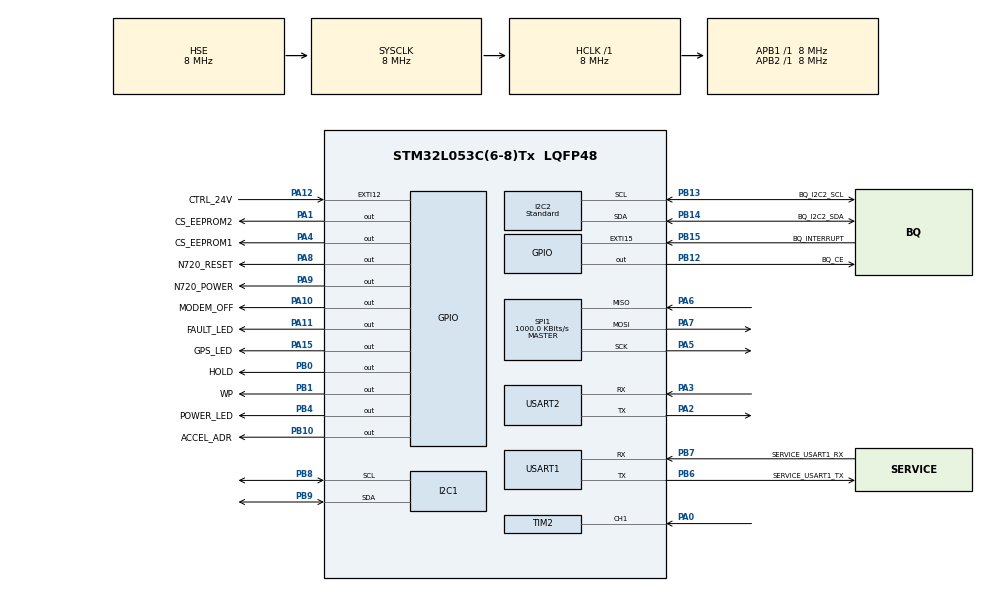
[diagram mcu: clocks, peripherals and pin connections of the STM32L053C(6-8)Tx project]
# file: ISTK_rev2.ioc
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Dma.Request0=USART1_TX
Dma.Request1=SPI1_RX
Dma.Request2=SPI1_TX
Dma.Request3=USART2_TX
Dma.Request4=USART2_RX
Dma.SPI1_RX.1.Direction=DMA_PERIPH_TO_MEMORY
Dma.SPI1_RX.1.Instance=DMA1_Channel2
Dma.SPI1_RX.1.MemDataAlignment=DMA_MDATAALIGN_BYTE
Dma.SPI1_RX.1.MemInc=DMA_MINC_ENABLE
Dma.SPI1_RX.1.Mode=DMA_NORMAL
Dma.SPI1_RX.1.PeriphDataAlignment=DMA_PDATAALIGN_BYTE
Dma.SPI1_RX.1.PeriphInc=DMA_PINC_DISABLE
Dma.SPI1_RX.1.Priority=DMA_PRIORITY_LOW
Dma.SPI1_TX.2.Direction=DMA_MEMORY_TO_PERIPH
Dma.SPI1_TX.2.Instance=DMA1_Channel3
Dma.SPI1_TX.2.MemDataAlignment=DMA_MDATAALIGN_BYTE
Dma.SPI1_TX.2.MemInc=DMA_MINC_ENABLE
Dma.SPI1_TX.2.Mode=DMA_NORMAL
Dma.SPI1_TX.2.PeriphDataAlignment=DMA_PDATAALIGN_BYTE
Dma.SPI1_TX.2.PeriphInc=DMA_PINC_DISABLE
Dma.SPI1_TX.2.Priority=DMA_PRIORITY_LOW
Dma.USART1_TX.0.Direction=DMA_MEMORY_TO_PERIPH
Dma.USART1_TX.0.Instance=DMA1_Channel4
Dma.USART1_TX.0.MemDataAlignment=DMA_MDATAALIGN_BYTE
Dma.USART1_TX.0.MemInc=DMA_MINC_ENABLE
Dma.USART1_TX.0.Mode=DMA_NORMAL
Dma.USART1_TX.0.PeriphDataAlignment=DMA_PDATAALIGN_BYTE
Dma.USART1_TX.0.PeriphInc=DMA_PINC_DISABLE
Dma.USART1_TX.0.Priority=DMA_PRIORITY_LOW
Dma.USART2_RX.4.Direction=DMA_PERIPH_TO_MEMORY
Dma.USART2_RX.4.Instance=DMA1_Channel5
Dma.USART2_RX.4.MemDataAlignment=DMA_MDATAALIGN_BYTE
Dma.USART2_RX.4.MemInc=DMA_MINC_ENABLE
Dma.USART2_RX.4.Mode=DMA_NORMAL
Dma.USART2_RX.4.PeriphDataAlignment=DMA_PDATAALIGN_BYTE
Dma.USART2_RX.4.PeriphInc=DMA_PINC_DISABLE
Dma.USART2_RX.4.Priority=DMA_PRIORITY_LOW
Dma.USART2_TX.3.Direction=DMA_MEMORY_TO_PERIPH
Dma.USART2_TX.3.Instance=DMA1_Channel7
Dma.USART2_TX.3.MemDataAlignment=DMA_MDATAALIGN_BYTE
Dma.USART2_TX.3.MemInc=DMA_MINC_ENABLE
Dma.USART2_TX.3.Mode=DMA_NORMAL
Dma.USART2_TX.3.PeriphDataAlignment=DMA_PDATAALIGN_BYTE
Dma.USART2_TX.3.PeriphInc=DMA_PINC_DISABLE
Dma.USART2_TX.3.Priority=DMA_PRIORITY_LOW
I2C1.Timing=0x2000090E
I2C2.AddressingMode=I2C_ADDRESSINGMODE_7BIT
I2C2.I2C_Speed_Mode=I2C_Standard
I2C2.Timing=0x2000090E
Mcu.Family=STM32L0
Mcu.Name=STM32L053C(6-8)Tx
Mcu.Package=LQFP48
NVIC.DMA1_Channel2_3_IRQn=true\:0\:0\:false\:false\:true\:false\:true
NVIC.DMA1_Channel4_5_6_7_IRQn=true\:0\:0\:false\:false\:true\:false\:true
NVIC.EXTI4_15_IRQn=true\:0\:0\:false\:false\:true\:true\:true
NVIC.TIM2_IRQn=true\:0\:0\:false\:false\:true\:true\:true
NVIC.TIM6_DAC_IRQn=true\:0\:0\:false\:false\:true\:true\:true
NVIC.USART1_IRQn=true\:0\:0\:false\:false\:true\:true\:true
NVIC.USART2_IRQn=true\:0\:0\:false\:false\:true\:true\:true
PA0.GPIO_PuPd=GPIO_PULLDOWN
PA0.Signal=S_TIM2_CH1
PA1.GPIO_Label=CS_EEPROM2
PA1.Signal=GPIO_Output
PA10.GPIO_Label=MODEM_OFF
PA10.GPIO_PuPd=GPIO_PULLDOWN
PA10.PinState=GPIO_PIN_SET
PA10.Signal=GPIO_Output
PA11.GPIO_Label=FAULT_LED
PA11.Signal=GPIO_Output
PA12.GPIO_Label=CTRL_24V
PA12.Signal=GPXTI12
PA15.GPIO_Label=GPS_LED
PA15.Signal=GPIO_Output
PA2.Mode=Asynchronous
PA2.Signal=USART2_TX
PA3.Mode=Asynchronous
PA3.Signal=USART2_RX
PA4.GPIO_Label=CS_EEPROM1
PA4.GPIO_PuPd=GPIO_NOPULL
PA4.Signal=GPIO_Output
PA5.Mode=Full_Duplex_Master
PA5.Signal=SPI1_SCK
PA6.Mode=Full_Duplex_Master
PA6.Signal=SPI1_MISO
PA7.Mode=Full_Duplex_Master
PA7.Signal=SPI1_MOSI
PA8.GPIO_Label=N720_RESET
PA8.GPIO_PuPd=GPIO_PULLDOWN
PA8.PinState=GPIO_PIN_SET
PA8.Signal=GPIO_Output
PA9.GPIO_Label=N720_POWER
PA9.Signal=GPIO_Output
PB0.GPIO_Label=HOLD
PB0.GPIO_PuPd=GPIO_NOPULL
PB0.Signal=GPIO_Output
PB1.GPIO_Label=WP
PB1.Signal=GPIO_Output
PB10.GPIO_Label=ACCEL_ADR
PB10.Signal=GPIO_Output
PB12.GPIO_Label=BQ_CE
PB12.Signal=GPIO_Output
PB13.GPIO_Label=BQ_I2C2_SCL
PB13.Mode=I2C
PB13.Signal=I2C2_SCL
PB14.GPIO_Label=BQ_I2C2_SDA
PB14.Mode=I2C
PB14.Signal=I2C2_SDA
PB15.GPIO_Label=BQ_INTERRUPT
PB15.Signal=GPXTI15
PB4.GPIO_Label=POWER_LED
PB4.Signal=GPIO_Output
PB6.GPIO_Label=SERVICE_USART1_TX
PB6.GPIO_Speed=GPIO_SPEED_FREQ_MEDIUM
PB6.Mode=Asynchronous
PB6.Signal=USART1_TX
PB7.GPIO_Label=SERVICE_USART1_RX
PB7.GPIO_PuPd=GPIO_PULLUP
PB7.GPIO_Speed=GPIO_SPEED_FREQ_VERY_HIGH
PB7.Mode=Asynchronous
PB7.Signal=USART1_RX
PB8.Mode=I2C
PB8.Signal=I2C1_SCL
PB9.Mode=I2C
PB9.Signal=I2C1_SDA
PC13.GPIO_Label=ACCEL_SYSWKUP2
PC13.Mode=SYS_WakeUp1
PC13.Signal=SYS_WKUP2
PH0-OSC_IN.Mode=HSE-External-Oscillator
PH0-OSC_IN.Signal=RCC_OSC_IN
PH1-OSC_OUT.Mode=HSE-External-Oscillator
PH1-OSC_OUT.Signal=RCC_OSC_OUT
ProjectManager.HeapSize=0x200
ProjectManager.StackSize=0x400
ProjectManager.TargetToolchain=MDK-ARM V5
RCC.ADCFreq_Value=4000000
RCC.AHBFreq_Value=8000000
RCC.APB1Freq_Value=8000000
RCC.APB1TimFreq_Value=8000000
RCC.APB2Freq_Value=8000000
RCC.APB2TimFreq_Value=8000000
RCC.HCLKFreq_Value=8000000
RCC.HSE_VALUE=8000000
RCC.HSI16_VALUE=16000000
RCC.HSI48_VALUE=48000000
RCC.HSIRCDiv=4
RCC.HSI_VALUE=4000000
RCC.LSE_VALUE=32768
RCC.MSI_VALUE=2097000
RCC.PLLDIV=RCC_PLLDIV_4
RCC.PLLMUL=RCC_PLLMUL_8
RCC.SYSCLKFreq_VALUE=8000000
RCC.SYSCLKSource=RCC_SYSCLKSOURCE_HSE
RCC.VCOOutputFreq_Value=32000000
SH.S_TIM2_CH1.0=TIM2_CH1,Input_Capture1_from_TI1
SPI1.BaudRatePrescaler=SPI_BAUDRATEPRESCALER_8
SPI1.CalculateBaudRate=1000.0 KBits/s
SPI1.Direction=SPI_DIRECTION_2LINES
SPI1.Mode=SPI_MODE_MASTER
SPI1.VirtualType=VM_MASTER
TIM2.AutoReloadPreload=TIM_AUTORELOAD_PRELOAD_DISABLE
TIM2.Channel-Input_Capture1_from_TI1=TIM_CHANNEL_1
TIM2.Period=2000
TIM2.Prescaler=7999
TIM2.TIM_MasterOutputTrigger=TIM_TRGO_UPDATE
TIM6.Period=30000
TIM6.Prescaler=7999
USART1.VirtualMode-Asynchronous=VM_ASYNC
USART2.VirtualMode-Asynchronous=VM_ASYNC
VP_TIM2_VS_ClockSourceINT.Mode=Internal
VP_TIM6_VS_ClockSourceINT.Mode=Enable_Timer
board=custom

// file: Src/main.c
/* USER CODE BEGIN Header */
/**
  ******************************************************************************
  * @file           : main.c
  * @brief          : Main program body
  ******************************************************************************
  * @attention
  *
  * <h2><center>&copy; Copyright (c) 2020 STMicroelectronics.
  * All rights reserved.</center></h2>
  *
  * This software component is licensed by ST under BSD 3-Clause license,
  * the "License"; You may not use this file except in compliance with the
  * License. You may obtain a copy of the License at:
  *                        opensource.org/licenses/BSD-3-Clause
  *
  ******************************************************************************
  */
/* USER CODE END Header */

#include "main.h"

/* USER CODE BEGIN Includes */
#include "main_task.h"
#include <string.h>
#include <stdio.h>
#include "eeprom.h"
#include "indication.h"
#include "uart.h"

/* USER CODE END Includes */

I2C_HandleTypeDef hi2c1;
I2C_HandleTypeDef hi2c2;

SPI_HandleTypeDef hspi1;
DMA_HandleTypeDef hdma_spi1_rx;
DMA_HandleTypeDef hdma_spi1_tx;

TIM_HandleTypeDef htim2;
TIM_HandleTypeDef htim6;

UART_HandleTypeDef huart1;
UART_HandleTypeDef huart2;
DMA_HandleTypeDef hdma_usart1_tx;
DMA_HandleTypeDef hdma_usart2_tx;
DMA_HandleTypeDef hdma_usart2_rx;

/* USER CODE BEGIN PV */
extern uint8_t n720_rxBuff[BUFF_LENGTH];
extern uint8_t n720_txBuff[BUFF_LENGTH];

extern uint8_t service_rxBuff[BUFF_LENGTH];
extern uint8_t service_txBuff[BUFF_LENGTH];

extern volatile rcv_package_status_type_def n720_rcv_package_status;
extern volatile rcv_package_status_type_def service_rcv_package_status;
extern volatile transmit_package_status_type_def n720_transmit_package_status;

/* USER CODE END PV */

void SystemClock_Config(void);
static void MX_GPIO_Init(void);
static void MX_DMA_Init(void);
static void MX_I2C1_Init(void);
static void MX_I2C2_Init(void);
static void MX_SPI1_Init(void);
static void MX_TIM2_Init(void);
static void MX_USART1_UART_Init(void);
static void MX_USART2_UART_Init(void);
static void MX_TIM6_Init(void);

int main(void)
{

  /* MCU Configuration--------------------------------------------------------*/

  /* Reset of all peripherals, Initializes the Flash interface and the Systick. */
  HAL_Init();

  /* Configure the system clock */
  SystemClock_Config();

  /* Initialize all configured peripherals */
  MX_GPIO_Init();
  MX_DMA_Init();
  MX_I2C1_Init();
  MX_I2C2_Init();
  MX_SPI1_Init();
  MX_TIM2_Init();
  MX_USART1_UART_Init();
  MX_USART2_UART_Init();
  MX_TIM6_Init();
  /* USER CODE BEGIN 2 */
	HAL_Delay(1);

//	print_run();
//	service_print_run();
	main_task();

	//ОНДМХЛЮЕЛ neoway
//	HAL_GPIO_WritePin(N720_RESET_GPIO_Port, N720_RESET_Pin, GPIO_PIN_SET);
//	HAL_GPIO_WritePin(FAULT_LED_GPIO_Port, FAULT_LED_Pin, GPIO_PIN_SET);
////	HAL_GPIO_WritePin(GPIOA, GPIO_PIN_10, GPIO_PIN_SET);
//	HAL_GPIO_WritePin(MODEM_OFF_GPIO_Port, MODEM_OFF_Pin, GPIO_PIN_SET);
////	HAL_GPIO_WritePin(N720_POWER_GPIO_Port, N720_POWER_Pin, GPIO_PIN_SET);//c rev3 МЕ АСДЕР
//	HAL_Delay(1000);
//	HAL_GPIO_WritePin(N720_RESET_GPIO_Port, N720_RESET_Pin, GPIO_PIN_RESET);
//	HAL_GPIO_WritePin(FAULT_LED_GPIO_Port, FAULT_LED_Pin, GPIO_PIN_RESET);
//	HAL_Delay(5000);
//	HAL_GPIO_WritePin(N720_RESET_GPIO_Port, N720_RESET_Pin, GPIO_PIN_SET);
//	HAL_GPIO_WritePin(FAULT_LED_GPIO_Port, FAULT_LED_Pin, GPIO_PIN_SET);
//	HAL_GPIO_WritePin(FAULT_LED_GPIO_Port, FAULT_LED_Pin, GPIO_PIN_RESET);
//	uint8_t write_byte = 0x54;
	indication_init();
	n720_uart_rcv_package_it();
//	uint32_t tick;
  /* USER CODE END 2 */

  /* Infinite loop */
  /* USER CODE BEGIN WHILE */
  while (1)
  {
		indication_handler(250);

		if(n720_rcv_package_status == rcv_data_ready)
		{
			service_clear_rx();
			service_rcv_package_status = rcv_cplt;
			n720_uart_rcv_package_it();
		}

//		volatile	uint8_t read_byte = 0xFF;
//		__nop();

		//read_byte = eeprom_rdsr();
//		eeprom_write_byte(24, 0x88);
//		read_byte = eeprom_read_byte(24);

		//eeprom_write_byte(0x01, 0x54);

		//read_byte = eeprom_read_byte(0x01);

//		__nop();

			//ОНДМХЛЮЕЛ neoway

//		if(HAL_GPIO_ReadPin(GPIOA, GPIO_PIN_0) == GPIO_PIN_RESET)
//		{
//			HAL_GPIO_WritePin(FAULT_LED_GPIO_Port, FAULT_LED_Pin, GPIO_PIN_SET);
//		}
//		else HAL_GPIO_WritePin(FAULT_LED_GPIO_Port, FAULT_LED_Pin, GPIO_PIN_RESET);
//		HAL_Delay(3000);
//		service_print_run();

		//HAL_Delay(500);

//		HAL_GPIO_WritePin(BQ_CE_GPIO_Port, BQ_CE_Pin, GPIO_PIN_SET);
//		char info[] = "Scanning I2C bus...\r\n";
//    HAL_UART_Transmit(&huart2, (uint8_t*)info, strlen(info),HAL_MAX_DELAY);

//    HAL_StatusTypeDef res;
//    for(uint16_t i = 0; i < 128; i++) {
//        res = HAL_I2C_IsDeviceReady(&hi2c1, i << 1, 1, 10);
//        if(res == HAL_OK) {
//            char msg[64];
//            snprintf(msg, sizeof(msg), "0x%02X", i);
//            HAL_UART_Transmit(&huart2, (uint8_t*)msg, strlen(msg),HAL_MAX_DELAY);
//        } else {
//            HAL_UART_Transmit(&huart2, (uint8_t*)".", 1,HAL_MAX_DELAY);
//        }
    }

//    HAL_UART_Transmit(&huart2, (uint8_t*)"\r\n", 2, HAL_MAX_DELAY);

//		HAL_GPIO_WritePin(N720_RESET_GPIO_Port, N720_RESET_Pin, GPIO_PIN_SET);
//		HAL_GPIO_WritePin(GPIOA, GPIO_PIN_10, GPIO_PIN_SET);
//		HAL_GPIO_WritePin(MODEM_OFF_GPIO_Port, MODEM_OFF_Pin, GPIO_PIN_SET);
//		HAL_GPIO_WritePin(N720_POWER_GPIO_Port, N720_POWER_Pin, GPIO_PIN_SET);//c rev3 МЕ АСДЕР

//		HAL_GPIO_TogglePin(GPS_LED_GPIO_Port, GPS_LED_Pin);
//		HAL_GPIO_TogglePin(POWER_LED_GPIO_Port, POWER_LED_Pin);
//		HAL_GPIO_TogglePin(FAULT_LED_GPIO_Port, FAULT_LED_Pin);
//		HAL_Delay(500);
    /* USER CODE END WHILE */

}

void SystemClock_Config(void)
{
  RCC_OscInitTypeDef RCC_OscInitStruct = {0};
  RCC_ClkInitTypeDef RCC_ClkInitStruct = {0};
  RCC_PeriphCLKInitTypeDef PeriphClkInit = {0};

  /** Configure the main internal regulator output voltage
  */
  __HAL_PWR_VOLTAGESCALING_CONFIG(PWR_REGULATOR_VOLTAGE_SCALE1);
  /** Initializes the CPU, AHB and APB busses clocks
  */
  RCC_OscInitStruct.OscillatorType = RCC_OSCILLATORTYPE_HSE;
  RCC_OscInitStruct.HSEState = RCC_HSE_ON;
  RCC_OscInitStruct.PLL.PLLState = RCC_PLL_NONE;
  if (HAL_RCC_OscConfig(&RCC_OscInitStruct) != HAL_OK)
  {
    Error_Handler();
  }
  /** Initializes the CPU, AHB and APB busses clocks
  */
  RCC_ClkInitStruct.ClockType = RCC_CLOCKTYPE_HCLK|RCC_CLOCKTYPE_SYSCLK
                              |RCC_CLOCKTYPE_PCLK1|RCC_CLOCKTYPE_PCLK2;
  RCC_ClkInitStruct.SYSCLKSource = RCC_SYSCLKSOURCE_HSE;
  RCC_ClkInitStruct.AHBCLKDivider = RCC_SYSCLK_DIV1;
  RCC_ClkInitStruct.APB1CLKDivider = RCC_HCLK_DIV1;
  RCC_ClkInitStruct.APB2CLKDivider = RCC_HCLK_DIV1;

  if (HAL_RCC_ClockConfig(&RCC_ClkInitStruct, FLASH_LATENCY_0) != HAL_OK)
  {
    Error_Handler();
  }
  PeriphClkInit.PeriphClockSelection = RCC_PERIPHCLK_USART1|RCC_PERIPHCLK_USART2
                              |RCC_PERIPHCLK_I2C1;
  PeriphClkInit.Usart1ClockSelection = RCC_USART1CLKSOURCE_PCLK2;
  PeriphClkInit.Usart2ClockSelection = RCC_USART2CLKSOURCE_PCLK1;
  PeriphClkInit.I2c1ClockSelection = RCC_I2C1CLKSOURCE_PCLK1;
  if (HAL_RCCEx_PeriphCLKConfig(&PeriphClkInit) != HAL_OK)
  {
    Error_Handler();
  }
}

static void MX_I2C1_Init(void)
{

  hi2c1.Instance = I2C1;
  hi2c1.Init.Timing = 0x2000090E;
  hi2c1.Init.OwnAddress1 = 0;
  hi2c1.Init.AddressingMode = I2C_ADDRESSINGMODE_7BIT;
  hi2c1.Init.DualAddressMode = I2C_DUALADDRESS_DISABLE;
  hi2c1.Init.OwnAddress2 = 0;
  hi2c1.Init.OwnAddress2Masks = I2C_OA2_NOMASK;
  hi2c1.Init.GeneralCallMode = I2C_GENERALCALL_DISABLE;
  hi2c1.Init.NoStretchMode = I2C_NOSTRETCH_DISABLE;
  if (HAL_I2C_Init(&hi2c1) != HAL_OK)
  {
    Error_Handler();
  }
  /** Configure Analogue filter
  */
  if (HAL_I2CEx_ConfigAnalogFilter(&hi2c1, I2C_ANALOGFILTER_ENABLE) != HAL_OK)
  {
    Error_Handler();
  }
  /** Configure Digital filter
  */
  if (HAL_I2CEx_ConfigDigitalFilter(&hi2c1, 0) != HAL_OK)
  {
    Error_Handler();
  }

}

static void MX_I2C2_Init(void)
{

  hi2c2.Instance = I2C2;
  hi2c2.Init.Timing = 0x2000090E;
  hi2c2.Init.OwnAddress1 = 0;
  hi2c2.Init.AddressingMode = I2C_ADDRESSINGMODE_7BIT;
  hi2c2.Init.DualAddressMode = I2C_DUALADDRESS_DISABLE;
  hi2c2.Init.OwnAddress2 = 0;
  hi2c2.Init.OwnAddress2Masks = I2C_OA2_NOMASK;
  hi2c2.Init.GeneralCallMode = I2C_GENERALCALL_DISABLE;
  hi2c2.Init.NoStretchMode = I2C_NOSTRETCH_DISABLE;
  if (HAL_I2C_Init(&hi2c2) != HAL_OK)
  {
    Error_Handler();
  }
  /** Configure Analogue filter
  */
  if (HAL_I2CEx_ConfigAnalogFilter(&hi2c2, I2C_ANALOGFILTER_ENABLE) != HAL_OK)
  {
    Error_Handler();
  }
  /** Configure Digital filter
  */
  if (HAL_I2CEx_ConfigDigitalFilter(&hi2c2, 0) != HAL_OK)
  {
    Error_Handler();
  }

}

static void MX_SPI1_Init(void)
{

  /* SPI1 parameter configuration*/
  hspi1.Instance = SPI1;
  hspi1.Init.Mode = SPI_MODE_MASTER;
  hspi1.Init.Direction = SPI_DIRECTION_2LINES;
  hspi1.Init.DataSize = SPI_DATASIZE_8BIT;
  hspi1.Init.CLKPolarity = SPI_POLARITY_LOW;
  hspi1.Init.CLKPhase = SPI_PHASE_1EDGE;
  hspi1.Init.NSS = SPI_NSS_SOFT;
  hspi1.Init.BaudRatePrescaler = SPI_BAUDRATEPRESCALER_8;
  hspi1.Init.FirstBit = SPI_FIRSTBIT_MSB;
  hspi1.Init.TIMode = SPI_TIMODE_DISABLE;
  hspi1.Init.CRCCalculation = SPI_CRCCALCULATION_DISABLE;
  hspi1.Init.CRCPolynomial = 7;
  if (HAL_SPI_Init(&hspi1) != HAL_OK)
  {
    Error_Handler();
  }

}

static void MX_TIM2_Init(void)
{

  TIM_ClockConfigTypeDef sClockSourceConfig = {0};
  TIM_MasterConfigTypeDef sMasterConfig = {0};
  TIM_IC_InitTypeDef sConfigIC = {0};

  htim2.Instance = TIM2;
  htim2.Init.Prescaler = 7999;
  htim2.Init.CounterMode = TIM_COUNTERMODE_UP;
  htim2.Init.Period = 2000;
  htim2.Init.ClockDivision = TIM_CLOCKDIVISION_DIV1;
  htim2.Init.AutoReloadPreload = TIM_AUTORELOAD_PRELOAD_DISABLE;
  if (HAL_TIM_Base_Init(&htim2) != HAL_OK)
  {
    Error_Handler();
  }
  sClockSourceConfig.ClockSource = TIM_CLOCKSOURCE_INTERNAL;
  if (HAL_TIM_ConfigClockSource(&htim2, &sClockSourceConfig) != HAL_OK)
  {
    Error_Handler();
  }
  if (HAL_TIM_IC_Init(&htim2) != HAL_OK)
  {
    Error_Handler();
  }
  sMasterConfig.MasterOutputTrigger = TIM_TRGO_UPDATE;
  sMasterConfig.MasterSlaveMode = TIM_MASTERSLAVEMODE_DISABLE;
  if (HAL_TIMEx_MasterConfigSynchronization(&htim2, &sMasterConfig) != HAL_OK)
  {
    Error_Handler();
  }
  sConfigIC.ICPolarity = TIM_INPUTCHANNELPOLARITY_RISING;
  sConfigIC.ICSelection = TIM_ICSELECTION_DIRECTTI;
  sConfigIC.ICPrescaler = TIM_ICPSC_DIV1;
  sConfigIC.ICFilter = 0;
  if (HAL_TIM_IC_ConfigChannel(&htim2, &sConfigIC, TIM_CHANNEL_1) != HAL_OK)
  {
    Error_Handler();
  }

}

static void MX_TIM6_Init(void)
{

  TIM_MasterConfigTypeDef sMasterConfig = {0};

  htim6.Instance = TIM6;
  htim6.Init.Prescaler = 7999;
  htim6.Init.CounterMode = TIM_COUNTERMODE_UP;
  htim6.Init.Period = 30000;
  htim6.Init.AutoReloadPreload = TIM_AUTORELOAD_PRELOAD_DISABLE;
  if (HAL_TIM_Base_Init(&htim6) != HAL_OK)
  {
    Error_Handler();
  }
  sMasterConfig.MasterOutputTrigger = TIM_TRGO_RESET;
  sMasterConfig.MasterSlaveMode = TIM_MASTERSLAVEMODE_DISABLE;
  if (HAL_TIMEx_MasterConfigSynchronization(&htim6, &sMasterConfig) != HAL_OK)
  {
    Error_Handler();
  }

}

static void MX_USART1_UART_Init(void)
{

  huart1.Instance = USART1;
  huart1.Init.BaudRate = 115200;
  huart1.Init.WordLength = UART_WORDLENGTH_8B;
  huart1.Init.StopBits = UART_STOPBITS_1;
  huart1.Init.Parity = UART_PARITY_NONE;
  huart1.Init.Mode = UART_MODE_TX_RX;
  huart1.Init.HwFlowCtl = UART_HWCONTROL_NONE;
  huart1.Init.OverSampling = UART_OVERSAMPLING_16;
  huart1.Init.OneBitSampling = UART_ONE_BIT_SAMPLE_DISABLE;
  huart1.AdvancedInit.AdvFeatureInit = UART_ADVFEATURE_NO_INIT;
  if (HAL_UART_Init(&huart1) != HAL_OK)
  {
    Error_Handler();
  }

}

static void MX_USART2_UART_Init(void)
{

  huart2.Instance = USART2;
  huart2.Init.BaudRate = 115200;
  huart2.Init.WordLength = UART_WORDLENGTH_8B;
  huart2.Init.StopBits = UART_STOPBITS_1;
  huart2.Init.Parity = UART_PARITY_NONE;
  huart2.Init.Mode = UART_MODE_TX_RX;
  huart2.Init.HwFlowCtl = UART_HWCONTROL_NONE;
  huart2.Init.OverSampling = UART_OVERSAMPLING_16;
  huart2.Init.OneBitSampling = UART_ONE_BIT_SAMPLE_DISABLE;
  huart2.AdvancedInit.AdvFeatureInit = UART_ADVFEATURE_NO_INIT;
  if (HAL_UART_Init(&huart2) != HAL_OK)
  {
    Error_Handler();
  }

}

static void MX_DMA_Init(void)
{

  /* DMA controller clock enable */
  __HAL_RCC_DMA1_CLK_ENABLE();

  /* DMA interrupt init */
  /* DMA1_Channel2_3_IRQn interrupt configuration */
  HAL_NVIC_SetPriority(DMA1_Channel2_3_IRQn, 0, 0);
  HAL_NVIC_EnableIRQ(DMA1_Channel2_3_IRQn);
  /* DMA1_Channel4_5_6_7_IRQn interrupt configuration */
  HAL_NVIC_SetPriority(DMA1_Channel4_5_6_7_IRQn, 0, 0);
  HAL_NVIC_EnableIRQ(DMA1_Channel4_5_6_7_IRQn);

}

static void MX_GPIO_Init(void)
{
  GPIO_InitTypeDef GPIO_InitStruct = {0};

  /* GPIO Ports Clock Enable */
  __HAL_RCC_GPIOC_CLK_ENABLE();
  __HAL_RCC_GPIOH_CLK_ENABLE();
  __HAL_RCC_GPIOA_CLK_ENABLE();
  __HAL_RCC_GPIOB_CLK_ENABLE();

  /*Configure GPIO pin Output Level */
  HAL_GPIO_WritePin(GPIOA, CS_EEPROM2_Pin|CS_EEPROM1_Pin|N720_POWER_Pin|FAULT_LED_Pin
                          |GPS_LED_Pin, GPIO_PIN_RESET);

  /*Configure GPIO pin Output Level */
  HAL_GPIO_WritePin(GPIOB, HOLD_Pin|WP_Pin|ACCEL_ADR_Pin|BQ_CE_Pin
                          |POWER_LED_Pin, GPIO_PIN_RESET);

  /*Configure GPIO pin Output Level */
  HAL_GPIO_WritePin(GPIOA, N720_RESET_Pin|MODEM_OFF_Pin, GPIO_PIN_SET);

  /*Configure GPIO pins : CS_EEPROM2_Pin CS_EEPROM1_Pin N720_POWER_Pin FAULT_LED_Pin
                           GPS_LED_Pin */
  GPIO_InitStruct.Pin = CS_EEPROM2_Pin|CS_EEPROM1_Pin|N720_POWER_Pin|FAULT_LED_Pin
                          |GPS_LED_Pin;
  GPIO_InitStruct.Mode = GPIO_MODE_OUTPUT_PP;
  GPIO_InitStruct.Pull = GPIO_NOPULL;
  GPIO_InitStruct.Speed = GPIO_SPEED_FREQ_LOW;
  HAL_GPIO_Init(GPIOA, &GPIO_InitStruct);

  /*Configure GPIO pins : HOLD_Pin WP_Pin ACCEL_ADR_Pin BQ_CE_Pin
                           POWER_LED_Pin */
  GPIO_InitStruct.Pin = HOLD_Pin|WP_Pin|ACCEL_ADR_Pin|BQ_CE_Pin
                          |POWER_LED_Pin;
  GPIO_InitStruct.Mode = GPIO_MODE_OUTPUT_PP;
  GPIO_InitStruct.Pull = GPIO_NOPULL;
  GPIO_InitStruct.Speed = GPIO_SPEED_FREQ_LOW;
  HAL_GPIO_Init(GPIOB, &GPIO_InitStruct);

  /*Configure GPIO pin : BQ_INTERRUPT_Pin */
  GPIO_InitStruct.Pin = BQ_INTERRUPT_Pin;
  GPIO_InitStruct.Mode = GPIO_MODE_IT_RISING;
  GPIO_InitStruct.Pull = GPIO_NOPULL;
  HAL_GPIO_Init(BQ_INTERRUPT_GPIO_Port, &GPIO_InitStruct);

  /*Configure GPIO pins : N720_RESET_Pin MODEM_OFF_Pin */
  GPIO_InitStruct.Pin = N720_RESET_Pin|MODEM_OFF_Pin;
  GPIO_InitStruct.Mode = GPIO_MODE_OUTPUT_PP;
  GPIO_InitStruct.Pull = GPIO_PULLDOWN;
  GPIO_InitStruct.Speed = GPIO_SPEED_FREQ_LOW;
  HAL_GPIO_Init(GPIOA, &GPIO_InitStruct);

  /*Configure GPIO pin : CTRL_24V_Pin */
  GPIO_InitStruct.Pin = CTRL_24V_Pin;
  GPIO_InitStruct.Mode = GPIO_MODE_IT_RISING;
  GPIO_InitStruct.Pull = GPIO_NOPULL;
  HAL_GPIO_Init(CTRL_24V_GPIO_Port, &GPIO_InitStruct);

  /* EXTI interrupt init*/
  HAL_NVIC_SetPriority(EXTI4_15_IRQn, 0, 0);
  HAL_NVIC_EnableIRQ(EXTI4_15_IRQn);

}

void Error_Handler(void)
{
}

/************************ (C) COPYRIGHT STMicroelectronics *****END OF FILE****/
